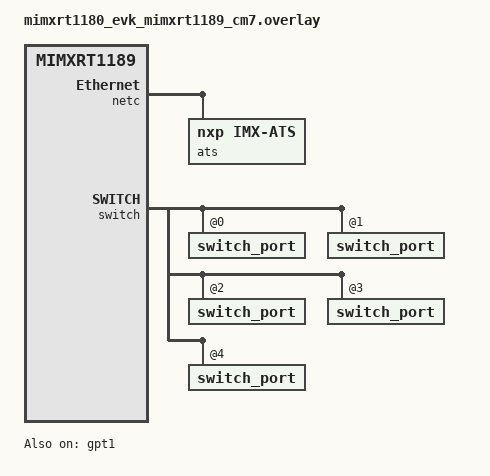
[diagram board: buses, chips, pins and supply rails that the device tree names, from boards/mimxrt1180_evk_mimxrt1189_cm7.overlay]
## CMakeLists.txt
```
# SPDX-License-Identifier: Apache-2.0

cmake_minimum_required(VERSION 3.20.0)
find_package(Zephyr REQUIRED HINTS $ENV{ZEPHYR_BASE})
project(rt1180-ats)

target_sources(app PRIVATE src/main.c)

if (CONFIG_ATS_SOFTWARE_DRIVER OR CONFIG_NETC_SPEEDTEST_ENABLED)
    target_sources(app PRIVATE src/ats_time.c)
    target_sources(app PRIVATE src/ptp_clock.c)
endif()

if(CONFIG_ATS_SOFTWARE_DRIVER)
    target_sources(app PRIVATE src/sender.c)
    target_sources(app PRIVATE src/ats.c)
    target_sources(app PRIVATE src/ats_iface.c)
    if(CONFIG_ATS_VERIFY_ENABLED)
        target_sources(app PRIVATE src/ats_verify.c)
    endif()

    zephyr_linker_sources(DATA_SECTIONS src/ats.ld)
    zephyr_iterable_section(NAME ats GROUP DATA_REGION ${XIP_ALIGN_WITH_INPUT})
endif()

if(CONFIG_NETC_SPEEDTEST_ENABLED)
    target_sources(app PRIVATE src/speedtest.c)
endif()
```

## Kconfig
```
mainmenu "Asynchronous Traffic Shaping IEEE 802.1Qcr"

menuconfig ATS_SOFTWARE_DRIVER
	bool "Enable ats software implementation"
	default y
	help
	  Enables all ATS specific code and further configuration

if ATS_SOFTWARE_DRIVER

config ATS_NUM_INTERFACES
	int "Number of interfaces/traffic classes with ATS support"
	default 0
	range 0 255
	help
	  Default: 0 = as many as are defined in the device tree. 
	  The maximum number of interface + traffic/pcp class cominations for which ATS support can be enabled.
	  The ATS on the same interface but different traffic class is treated like an independant interface!

config ATS_SCHEDULER_INSTANCES
	int "Number of ATS instances (maximum number of apps/streams)"
    default 6
	range 1 255
	help
	  The maximum number of ATS instances to allocate space for per iface/traffic class.
	  Defines the maximum number of apps thet can be used

config ATS_GROUP_INSTANCES
	int "Number of ATS groups"
    default 6
	range 1 255
	help
	  The maximum number of ATS groups to allocate space for per iface/traffic class.
	  Every scheduler used must be assigned to a group (multiple can be assigned to same group)

config ATS_QUEUE_LENGTH
    int "Size of queue for every ATS group"
    default 5
	range 1 255
	help
	  The size of the queue/ring buffer for every ATS scheduler group.
	  If the queue is full and more packets arrive for the 

config ATS_LOG_LEVEL
	int "Log level to use in ATS code (none: 0 to debug: 4)"
	default 4

config ATS_ASSERT_ON_SEND
	bool "Perform assertion checks on ATS send"
	default n
	help
	  Defines wether the ATS send path should perform assertions to check validity of parameters etc.
	  This causes some performace hit, it is useful for debugging but should be disabled in production

config ATS_TIMER_EPSILON_NS
	int "Number of nanoseconds of allowable jitter for timer updating"
	default 4000
	help
	  The number of nanoseconds to use as tolerance when setting a new timer expiry.
	  In the case a new packet with elegibility time within this epsilon arrives, it will ony be sent up to this amount of time later.
	  Required to avoid race condition when setting timer.
	  MUST be bigger than the time required for thread-lock, isr-lock, timer alarm update and both unlocks

config ATS_IFACE_INIT_PRIO
	int "Init priority for ats ifeces (between ETH_INIT_PRIORITY and NET_INIT_PRIO)"
	depends on NET_INIT_PRIO > ETH_INIT_PRIORITY
	default 61
	range ETH_INIT_PRIORITY NET_INIT_PRIO
	help
	  The initialization priority for ats interfaces. MUST be BIGGER than ETH_INIT_PRIORITY and SMALLER than NET_INIT_PRIO.
	  If set incorrectly, the initialization of the ats interface will fail (as ethernet and interface init are called in wrong order or parent devices aren't ready yet)

config ATS_VERIFY_ENABLED
	bool "Enable ats correctness verification"
	default n
	help
	  Enable this to check and log correctness of ATS packet sending.
	  This will start another (low prio) thread that does the verification by tracking the bucket states separately

config ATS_VERIFY_NO_PROCESSING
	bool "Disable processing threads of ats verify, only collect timestamps"
	default n
	help
	  To prevent the processing threads of ats verify to be spawned, set this to y, then only the timestamps will be collected.
	  Can be dumped using debugger

config ATS_VERIFY_LOG_LEVEL
	int "Log level for ATS verification"
	default 3
	help
	  The verbosity of the ATS verification.
	  0: none, 1: only errors in verifyer code, 2: warn if ATS did not comply to specification, 3: regular info of bucket states, 4: debug info from verifyer

endif

config NETC_SPEEDTEST_ENABLED
	bool "Build the nxp netx speedtest functionality"
	default n
	help
	  Provides the function speedtest_start to evaluate the send speed of a netc interface

if NETC_SPEEDTEST_ENABLED

config ATS_SPEEDTEST_MAX_INSTANCES
	int "Number of instances of speedtest_start that can be run in parallel"
	default 2

config ATS_SPEEDTEST_BUF_SIZE
	int "Timestamp buffer size in bytes"
	default 10240
	help
	  How many bytes to allocate for storing timestamps of the speedtest.
	  Maximum numer of timestamps per instance = floor(ATS_SPEEDTEST_BUF_SIZE / 8 / ATS_SPEEDTEST_MAX_INSTANCES)

endif

source "Kconfig.zephyr"
```

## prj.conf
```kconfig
# ATS settings
CONFIG_ATS_ASSERT_ON_SEND=y

CONFIG_GPIO=y

CONFIG_ETH_NXP_IMX_NETC=y
CONFIG_NET_L2_ETHERNET=y
CONFIG_NET_DSA=y
#CONFIG_DSA_TAG_PROTOCOL_NETC=y # not required to set manually as auto selected for netc board if CONFIG_NET_DSA=y
CONFIG_COUNTER=y
#CONFIG_COUNTER_MCUX_GPT=y # not required to set manually as auto selected for mcux board if CONFIG_COUNTER=y
#CONFIG_ETH_NXP_IMX_TX_RING_NUM=7
CONFIG_PTP_CLOCK=y
# required as dependency for CONFIG_PTP_CLOCK due to error in dsa_nxp_imx_netc.c L.562 (should not only be dependant on CONFIG_PTP_CLOCK but also CONFIG_NET_L2_PTP)
CONFIG_NET_L2_PTP=y

CONFIG_NET_L2_ETHERNET_RESERVE_HEADER=y # Required to reserve space for mac header in packets so they are contiguous
CONFIG_ETH_NXP_IMX_TX_RING_BUF_SIZE=1500

### Begin tracing
# CONFIG_TRACING=y
# CONFIG_PERCEPIO_TRACERECORDER=y
# CONFIG_PERCEPIO_TRC_CFG_STREAM_PORT_RINGBUFFER=y
# CONFIG_PERCEPIO_TRC_CFG_STREAM_PORT_RINGBUFFER_SIZE=10240
# CONFIG_PERCEPIO_TRC_CFG_CTRL_TASK_DELAY=1000

# CONFIG_TRACING_CTF=y
# CONFIG_TRACING_BACKEND_RAM=y
# CONFIG_RAM_TRACING_BUFFER_SIZE=10240

CONFIG_TRACING_PM=n
### End tracing


CONFIG_ATS_VERIFY_ENABLED=n
CONFIG_ATS_VERIFY_LOG_LEVEL=4

#CONFIG_DT_HAS_ETHERNET_PHY_ENABLED=y

# Generic networking options
CONFIG_NETWORKING=y
CONFIG_NET_UDP=n
CONFIG_NET_TCP=n
CONFIG_NET_IPV6=n
CONFIG_NET_IPV4=n
CONFIG_NET_SOCKETS=y
CONFIG_NET_SOCKETS_PACKET=y
CONFIG_POSIX_API=n
CONFIG_NET_CONTEXT_RCVTIMEO=n
CONFIG_NET_MGMT=y
CONFIG_NET_MGMT_EVENT=y

# Kernel options
CONFIG_MAIN_STACK_SIZE=2048
CONFIG_ENTROPY_GENERATOR=y
CONFIG_TEST_RANDOM_GENERATOR=y
CONFIG_INIT_STACKS=y

# Network buffers
CONFIG_NET_PKT_RX_COUNT=16
CONFIG_NET_PKT_TX_COUNT=16
CONFIG_NET_BUF_RX_COUNT=64
CONFIG_NET_BUF_TX_COUNT=64
CONFIG_NET_CONTEXT_NET_PKT_POOL=y

# Network shell
CONFIG_NET_SHELL=n

# Assertions
CONFIG_ASSERT=y

# Logging
CONFIG_LOG=y
CONFIG_NET_LOG=y
CONFIG_NET_STATISTICS=y
CONFIG_PRINTK=y
CONFIG_LOG_BACKEND_NATIVE_POSIX=y
CONFIG_LOG_DEFAULT_LEVEL=3
CONFIG_ATS_LOG_LEVEL=4

CONFIG_NET_SOCKETS_LOG_LEVEL_DBG=n
CONFIG_NET_CONTEXT_LOG_LEVEL_DBG=n
CONFIG_NET_CORE_LOG_LEVEL_DBG=n
CONFIG_NET_CONN_LOG_LEVEL_DBG=n
CONFIG_NET_IF_LOG_LEVEL_DBG=n
CONFIG_NET_L2_ETHERNET_LOG_LEVEL_DBG=n
CONFIG_ETHERNET_LOG_LEVEL_DBG=y
CONFIG_NET_PKT_LOG_LEVEL_ERR=n
```

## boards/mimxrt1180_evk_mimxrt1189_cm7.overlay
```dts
/* SPDX-License-Identifier: Apache-2.0 */

/ {
	aliases {
		lan = &switch_port3;
		eth0 = &switch_port0;
		eth1 = &switch_port1;
		eth2 = &switch_port2;
		eth3 = &switch_port3;
		eth4 = &enetc_psi0;
		ethpseudo = &enetc_psi1;
		ats-time = &netc_ptp_clock0;
		//ats-time = &gpt1;

		ats = &ats_0;
	};

	soc {
		peripheral: peripheral@40000000 {
			netc: ethernet {
				enetc_psi0: ethernet@60b00000 {
					status = "okay";
				};

				ats {
					compatible = "nxp,imx-ats";

					#address-cells = <1>;
					#size-cells = <0>;

					ats_0: ats@0 {
						status = "okay";
						parent = <&switch_port3>;
						reg = <0>;
					};
					ats_1: ats@1 {
						status = "okay";
						parent = <&enetc_psi0>;
						reg = <1>;
					};
				};
			};
		};
	};
};

&switch {
	status = "okay";
	switch_port@0 {
		status = "okay";
	};
	switch_port@1 {
		status = "okay";
	};
	switch_port@2 {
		status = "okay";
	};
	switch_port@3 {
		status = "okay";
	};
	switch_port@4 {
		status = "okay";
	};
};

&gpt1 {
	status = "okay";
	gptfreq = <DT_FREQ_M(240)>;
	run-mode = "free-run";
};

&netc_ptp_clock0 {
	status = "okay";
};
```

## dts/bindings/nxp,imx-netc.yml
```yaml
description: NXP i.MX NETC ATS software driver

compatible: "nxp,imx-ats"

include: 
    - name: base.yaml
      property-allowlist:
        - compatible


child-binding:
  description: One instance of the ats implementation (one per iface/priority combination)
  include: 
    - name: base.yaml
      property-blocklist:
        - compatible

  properties:
    parent:
      type: phandle
      description: Hardware interface to actually send via
      required: true
    priority:
      type: int
      description: The (pcp) priority for which to initialize ATS schedulers. All priorities on an interface behave like independant interfaces.
      default: 0
      enum:
        - 0
        - 1
        - 2
        - 3
        - 4
        - 5
        - 6
        - 7
```

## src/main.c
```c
/*
 * Copyright (c) 2019 Intel Corporation.
 *
 * SPDX-License-Identifier: Apache-2.0
 */

#include <zephyr/logging/log.h>
LOG_MODULE_REGISTER(net_pkt_sock_sample, LOG_LEVEL_DBG);

#include <zephyr/kernel.h>
#include <errno.h>
#include <stdio.h>

#include <zephyr/misc/lorem_ipsum.h>
#include <zephyr/net/socket.h>
#include <zephyr/net/ethernet.h>
#include <zephyr/net/net_mgmt.h>
#include <zephyr/net/dsa_core.h>

#include <zephyr/posix/sys/socket.h>
#include <zephyr/posix/unistd.h>

#include "ats.h"
#include "ats_iface.h"
#ifdef CONFIG_ATS_SOFTWARE_DRIVER
#include "sender.h"
#endif

#ifdef CONFIG_NETC_SPEEDTEST_ENABLED
#include "speedtest.h"
#endif

#if defined(CONFIG_NET_TC_THREAD_COOPERATIVE)
#define THREAD_PRIORITY K_PRIO_PREEMPT(0) // K_PRIO_COOP(CONFIG_NUM_COOP_PRIORITIES - 1)
#else
#define THREAD_PRIORITY K_PRIO_PREEMPT(8)
#endif

#define LAN_NODE DT_ALIAS(ats)

static struct k_sem quit_lock;

static bool finish;
static K_SEM_DEFINE(iface_up, 0, 1);
static const char *iface_dev_name = DT_NODE_FULL_NAME(LAN_NODE);
const struct device *if_dev_a; // = DEVICE_DT_GET(LAN_NODE);
struct net_if *iface;

static void find_actual_iface()
{
	if_dev_a = device_get_binding(iface_dev_name);

	iface = net_if_lookup_by_dev(if_dev_a);

	if (net_if_l2(iface) != &NET_L2_GET_NAME(ETHERNET))
	{
		LOG_ERR("Interface not an ethernet interface!");
		return;
	}
}

static void iface_up_handler(struct net_mgmt_event_callback *cb, uint64_t mgmt_event, struct net_if *changed_iface) //(uint64_t mgmt_event, struct net_if *changed_iface, void *info, size_t info_length, void *user_data)
{
	if (mgmt_event == NET_EVENT_IF_UP && changed_iface->if_dev->dev == iface->if_dev->dev)
	{
		k_sem_give(&iface_up);
	}
}

// NET_MGMT_REGISTER_EVENT_HANDLER(iface_up_cb, NET_EVENT_IF_UP, iface_up_handler, NULL);
static void wait_for_interface(void)
{
	if (net_if_is_up(iface))
	{
		return;
	}

	struct net_mgmt_event_callback iface_up_cb;
	net_mgmt_init_event_callback(&iface_up_cb, iface_up_handler,
								 NET_EVENT_IF_UP);
	net_mgmt_add_event_callback(&iface_up_cb);

	/* Wait for the interface to come up. */
	k_sem_take(&iface_up, K_FOREVER);

	net_mgmt_del_event_callback(&iface_up_cb);
}

int main(void)
{
	LOG_WRN("Hello world!");

	find_actual_iface();
	if (!ats_iface_is_ats(iface))
	{
		ats_init(iface);
	}

	k_sem_init(&quit_lock, 0, K_SEM_MAX_LIMIT);

	wait_for_interface();

	LOG_INF("Packet socket sample is running");

	// 2g:   250000000
	// 1g:   125000000
	// 999m: 124875000 = 100,7658%
	// 995m: 124375000 = 100,362%
	// 990m: 123750000 = 99,858%
	// 980m: 122500000 = 98,849%
	// 970m: 121250000 = 97,841%
	// 960m: 120000000 = 96,832%
	// 950m: 118750000 = 95,233%
	// 900m: 112500000 = 90,78%
	// 800m: 100000000 = 80,693%
	// 500m:  62500000
	// 400m:  50000000
	// 300m:  37500000
	// 200m:  25000000
	// 133.3m:16666667
	// 100m:  12500000
	// 1m:      125000
	sender_start(iface, 1500, 55, 25000000, true, THREAD_PRIORITY);
	sender_start(iface, 1500, 0, 25000000, false, THREAD_PRIORITY + 5);
	//   sender_start(iface, 1500, 1, 2000000, true, THREAD_PRIORITY + 1);
	//    sender_start(iface, 1500, 1, 2000000, true, THREAD_PRIORITY + 1);
	//    sender_start(iface, 1500, 1, 2000000, true, THREAD_PRIORITY + 1);
	//      sender_start(iface, 1500, 0, 16666667, true, THREAD_PRIORITY);
	//      sender_start(iface, 1500, 0, 16666667, true, THREAD_PRIORITY);

	// speedtest_start(ats_iface_is_ats(iface) ? ats_iface_get_data(iface)->iface : iface, CONFIG_NUM_PREEMPT_PRIORITIES - 1, true);
	/*speedtest_start(ats_iface_is_ats(iface) ? ats_iface_get_data(iface)->iface : iface, CONFIG_NUM_PREEMPT_PRIORITIES - 1, true);
	speedtest_start(ats_iface_is_ats(iface) ? ats_iface_get_data(iface)->iface : iface, CONFIG_NUM_PREEMPT_PRIORITIES - 1, true);
	speedtest_start(ats_iface_is_ats(iface) ? ats_iface_get_data(iface)->iface : iface, CONFIG_NUM_PREEMPT_PRIORITIES - 1, true);*/

	k_sem_take(&quit_lock, K_FOREVER);

	LOG_INF("Stopping...");

	return 0;
}
```

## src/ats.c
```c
#include <zephyr/kernel.h>
#include <zephyr/net/ethernet.h>
#include <zephyr/net/dsa_core.h>
#include <zephyr/logging/log.h>
#include <zephyr/sys/__assert.h>
#include "ats.h"
#include "constants.h"
#include "tracing_helper.h"
#ifdef CONFIG_ATS_VERIFY_ENABLED
#include "ats_verify.h"
#endif

#define ATS_QUEUE_ARR_LENGTH (CONFIG_ATS_QUEUE_LENGTH + 1)
#define LOG_IF_ERR(err, ...)  \
    if ((err) != 0)           \
    {                         \
        LOG_ERR(__VA_ARGS__); \
    }

#define RETURN_PROCESS_NOW 189 // magic return value for ats_update_counter_alarm to signal to caller to process packet now and no timer was set

LOG_MODULE_REGISTER(ats, CONFIG_ATS_LOG_LEVEL);

// Actual instances of ats struct in iterable struct section
STRUCT_SECTION_ITERABLE_ARRAY(ats, ats_instances, CONFIG_ATS_STRUCT_ITERABLE_SIZE);

void ats_counter_alarm_cb();

ats_trace_vars

struct ats *ats_init(struct net_if *iface)
{

    ats_trace_init();
    LOG_INF("Initializing ATS struct for iface %s", net_if_get_config(iface)->name);
    LOG_DBG("allocating %d schedulers, %d groups and %d queue slots/group", CONFIG_ATS_SCHEDULER_INSTANCES, CONFIG_ATS_GROUP_INSTANCES, CONFIG_ATS_QUEUE_LENGTH);

    struct ats *newInst = ats_get_by_net_if(iface);
    if (newInst != NULL)
    {
        LOG_DBG("a structure was already allocated for the iface");
        return newInst;
    }

    if (ats_time_init(ats_counter_alarm_cb))
    {
        LOG_ERR("counter/timer initialization failed!");
        return NULL;
    }

    STRUCT_SECTION_FOREACH(ats, instance)
    {
        if (instance->iface == NULL)
        {
            newInst = instance;
            break;
        }
    }
    __ASSERT(newInst != NULL, "no free ats instance found in ats_init");

    __ASSERT(net_if_l2(iface) == &NET_L2_GET_NAME(ETHERNET), "ATS only works on ethernet interfaces. Given interface wasn't ethernet");

#ifdef CONFIG_NET_DSA
    struct ethernet_context *eth_ctx = net_if_l2_data(iface);
    __ASSERT(eth_ctx->dsa_port != DSA_CONDUIT_PORT, "Given interface was a DSA conduit port. Cannot send via that, use a user/switch port");
    if (eth_ctx->dsa_port == DSA_USER_PORT)
    {
        const struct device *dev = net_if_get_device(iface);
        struct dsa_switch_context *dsa_switch_ctx = dev->data;
        newInst->ifaceDevice = net_if_get_device(dsa_switch_ctx->iface_conduit);
    }
    else
    {
        __ASSERT(eth_ctx->dsa_port == NON_DSA_PORT, "Given interface is of unknown type %d. Not a dsa switch port nor a non-dsa port", eth_ctx->dsa_port);
        newInst->ifaceDevice = net_if_get_device(iface);
    }
#else
    newInst->ifaceDevice = net_if_get_device(iface);
#endif

    newInst->iface = iface;
    k_mutex_init(&newInst->atsGlobalMutex);

    for (int i = 0; i < CONFIG_ATS_SCHEDULER_INSTANCES; i++)
    {
        newInst->scheduler[i].schedulerGroup = CONFIG_ATS_GROUP_INSTANCES;
    }

    for (int i = 0; i < CONFIG_ATS_GROUP_INSTANCES; i++)
    {
        newInst->group[i].parent = newInst;
        newInst->group[i].queueHeadElegibilityTime.valid = false;

        k_msgq_init(&(newInst->group[i].queue), newInst->group[i].queueBuffer, sizeof(struct ats_enqued_packet), CONFIG_ATS_QUEUE_LENGTH);
        k_mutex_init(&(newInst->group[i].elegibilityTimeMutex));
        LOG_DBG("For ATS %p: Group %d is %p", newInst, i, &(newInst->group[i]));
    }

    return newInst;
}

struct ats *ats_get_by_net_if(struct net_if *iface)
{
    STRUCT_SECTION_FOREACH(ats, instance)
    {
        if (instance->iface == iface)
        {
            return instance;
        }
    }
    return NULL;
}

uint8_t ats_get_group_id(struct ats *ats_data, uint8_t schedId)
{
    __ASSERT(schedId >= 0 && schedId < CONFIG_ATS_SCHEDULER_INSTANCES, "Invalid scheduler id %d to get the group id for", schedId);
    return ats_data->scheduler[schedId].schedulerGroup;
}

uint8_t ats_register_scheduler(struct ats *ats_data, int groupId, uint32_t informationRate, uint32_t burstSize)
{
    __ASSERT(ats_data != NULL, "no ats structure passed");
    __ASSERT(groupId < CONFIG_ATS_GROUP_INSTANCES, "invalid ATS group id %d, out of range of %d available groups", groupId, CONFIG_ATS_GROUP_INSTANCES);
    __ASSERT(informationRate > 0, "committed information rate (CIR, informationRate) must be greater than 0!");
    __ASSERT(burstSize > 0, "committed burst size (CBS, burstSize) must be greater than 0!");
    k_mutex_lock(&ats_data->atsGlobalMutex, K_FOREVER);

    int schedulerId = -1;
    for (int i = 0; i < CONFIG_ATS_SCHEDULER_INSTANCES; i++)
    {
        if (ats_data->scheduler[i].informationRate == 0)
        {
            schedulerId = i;
            break;
        }
    }
    __ASSERT(schedulerId >= 0, "no free ATS scheduler found for iface %s", net_if_get_config(ats_data->iface)->name);

    LOG_INF("Registered ATS stream %d for iface %s", schedulerId, net_if_get_config(ats_data->iface)->name);
    LOG_DBG("using groupId %d, %d tokens/sec, %d bytes burst size", groupId, informationRate, burstSize);
    if (groupId < 0)
    {
        groupId = -1;
        for (int i = 0; i < CONFIG_ATS_SCHEDULER_INSTANCES; i++)
        {
            if (ats_data->scheduler[i].schedulerGroup != CONFIG_ATS_GROUP_INSTANCES)
            {
                groupId = max(ats_data->scheduler[i].schedulerGroup, groupId);
            }
        }
        groupId++;
        __ASSERT(groupId >= 0 && groupId < CONFIG_ATS_GROUP_INSTANCES, "no free group without scheduler found to assign to instance %d", schedulerId);
    }

#ifdef CONFIG_ATS_VERIFY_ENABLED
    ats_verify_set_stream_parameters(&(ats_data->group[groupId]), ats_data, informationRate, burstSize);
#endif

    ats_data->scheduler[schedulerId].bucketEmptyTimeTicks = 0;
    ats_data->scheduler[schedulerId].informationRate = informationRate;
    ats_data->scheduler[schedulerId].burstSize = burstSize;
    ats_data->scheduler[schedulerId].schedulerGroup = groupId;
    ats_data->scheduler[schedulerId].emptyToFullTimeTicks = ((uint64_t)burstSize * (uint64_t)TICKS_PER_SECOND) / informationRate;

    k_mutex_unlock(&ats_data->atsGlobalMutex);
    return schedulerId;
}

int ats_send_iface(struct ats_group *group, struct net_pkt *pkt
#ifdef CONFIG_ATS_VERIFY_ENABLED
                   ,
                   uint64_t elegibilityTime, uint8_t sendFlags
#endif
)
{
    ats_trace_transmit(*(uint64_t *)(pkt->buffer->__buf + 16));
    LOG_DBG("Group %p sending packet with %d bytes", group, net_pkt_get_len(pkt));
    net_pkt_set_iface(pkt, group->parent->iface);
    net_pkt_cursor_init(pkt);
#ifdef CONFIG_ATS_VERIFY_ENABLED
    ats_verify_packet_sent(group, pkt, elegibilityTime, sendFlags);
#endif
    const struct ethernet_api *api = group->parent->ifaceDevice->api;
    int res = api->send(group->parent->ifaceDevice, pkt);
    net_pkt_unref(pkt);
    return res;
}

/**
 * @brief Sends all elegible packets at head of the groups queue.
 * @returns >= 0 number of packets left in queue (if > 0 queueHeadElegibilityTime will be next elegibility time)
 */
int ats_process_queue(struct ats_group *group, uint64_t now)
{
    int ret = 0;
    atomic_val_t oldLen = -1;
    now = TICK_NORMALIZE(now);
    while (group->queueHeadElegibilityTime.valid && TICK_LE(TICK_NORMALIZE(group->queueHeadElegibilityTime.tick), now))
    {
        LOG_DBG("Dequeue packet from group %p", group);
        struct ats_enqued_packet pkt;
        if (k_msgq_get(&(group->queue), &pkt, K_NO_WAIT) != 0)
        {
            // no packet in queue => nothing to do
            LOG_DBG("Queue of group %p was empty. Nothing to do", group);
            group->queueHeadElegibilityTime.valid = false;
            return 0;
        }

        ret = ats_send_iface(group, pkt.packet
#ifdef CONFIG_ATS_VERIFY_ENABLED
                             ,
                             pkt.elegibilityTime, (k_is_in_isr() ? ATS_VERIFY_SEND_FLAG_ISR : 0) | (oldLen == -1 ? 0 : ATS_VERIFY_SEND_FLAG_MORE)
#endif
        );
        LOG_IF_ERR(ret, "error while sending packets from queue of ATS group %p: %d", group, ret);

        oldLen = atomic_dec(&(group->queueLen));
        if (oldLen <= 1)
        {
            // queue empty => no need to calc elegibility time or stat timer
            LOG_DBG("group %p, new len: 0, queue now empty", group);
            group->queueHeadElegibilityTime.valid = false;
            return 0;
        }
        if (k_msgq_peek(&(group->queue), &pkt) != 0)
        {
            // no packet in queue => nothing to do
            LOG_DBG("group %p, new len: 0, queue now empty. This should not be reachable", group);
            group->queueHeadElegibilityTime.valid = false;
            return 0;
        }

        // packet in queue => need to send or restart timer
        group->queueHeadElegibilityTime.tick = pkt.elegibilityTime;
        group->queueHeadElegibilityTime.valid = true;
        LOG_DBG("group %p, new len %d, next elegibility time %" PRId64, group, (int)(oldLen - 1), group->queueHeadElegibilityTime.tick);
    }

    // queue not empty but next packet not elegible yet
    return oldLen != -1 ? oldLen - 1 : (group->queueHeadElegibilityTime.valid ? 1 : 0);
}

ats_time_t ats_calc_elegibility_time(struct ats *ats_data, uint8_t schedId, size_t pktSize, uint64_t arrivalTick, uint64_t *bucketEmptyTime)
{
    struct ats_scheduler *sched = &(ats_data->scheduler[schedId]);
    struct ats_group *group = &(ats_data->group[sched->schedulerGroup]);
    uint64_t pktRecoveryTimeTicks = ((uint64_t)pktSize) * TICKS_PER_SECOND / sched->informationRate;

    uint64_t schedulerElegebilityTimeTicks = sched->bucketEmptyTimeTicks + pktRecoveryTimeTicks;
    ats_time_t elegebilityTime = {
        .valid = false,
        .tick = MAX(arrivalTick, MAX(schedulerElegebilityTimeTicks, group->groupElegibilityTimeTicks)),
    };
    if (TICK_ILLEGAL_INTERVAL(arrivalTick, elegebilityTime.tick))
    {
        return elegebilityTime;
    }
    group->groupElegibilityTimeTicks = elegebilityTime.tick;

    uint64_t bucketFullTime = sched->bucketEmptyTimeTicks + sched->emptyToFullTimeTicks;
    if (elegebilityTime.tick < bucketFullTime)
    {
        // bucket wasn't full yet => remove pktSize tokens from bucket by moving bucketEmptyTime
        *bucketEmptyTime = schedulerElegebilityTimeTicks;
    }
    else
    {
        // bucket was full => subtrack pktSize tokens from bucket and set, bucketEmptyTime accurdingly
        *bucketEmptyTime = elegebilityTime.tick - sched->emptyToFullTimeTicks + pktRecoveryTimeTicks;
    }

    elegebilityTime.valid = true;
    return elegebilityTime;
}

int ats_update_counter_alarm_tmp(uint64_t nextElegibilityTime, bool timerExpired, uint64_t *outUsedNow)
{
    uint64_t counterVal;
    if (outUsedNow == NULL)
    {
        outUsedNow = &counterVal;
    }
    ats_time_get(outUsedNow);
    *outUsedNow = TICK_NORMALIZE(*outUsedNow);
    nextElegibilityTime = TICK_NORMALIZE(nextElegibilityTime);
    ats_time_t alarm_time;
    ats_time_get_alarm(&alarm_time);
    LOG_DBG("now: %" PRIu64 ", elegible: %" PRIu64 ", alarm valid: %d, alarm time: %" PRIu64, *outUsedNow, nextElegibilityTime, alarm_time.valid, alarm_time.tick);

    if (TICK_LE(nextElegibilityTime, *outUsedNow))
    {
        LOG_DBG("timer update: packet already elegible, not updating timer");
        return RETURN_PROCESS_NOW;
    }
    if (timerExpired || !alarm_time.valid)
    {
        // if elegibility time is before now + epsilon (closer than time needed to update OR already past)
        if (TICK_LE(nextElegibilityTime, *outUsedNow + CONFIG_ATS_TIMER_EPSILON_TICKS))
        {
            // counter alarm time is past and elegibility time is closer than epsilon => update to now+epsilon
            LOG_DBG("timer update: update to now+epsilon (%" PRId64 "); reason: timer expired and next elegibility time (%" PRId64 ") closer than epsilon; N'-E=%" PRId64,
                    TICK_NORMALIZE(*outUsedNow + CONFIG_ATS_TIMER_EPSILON_TICKS),
                    nextElegibilityTime,
                    TICK_REL_TIME(nextElegibilityTime, TICK_NORMALIZE(*outUsedNow + CONFIG_ATS_TIMER_EPSILON_TICKS)));
            return ats_time_set_alarm(*outUsedNow + CONFIG_ATS_TIMER_EPSILON_TICKS);
        }
        else
        {
            // counter alarm time is past and enough time to elegibility time to update => update to elegibility time
            LOG_DBG("timer update: update to next elegibility (%" PRId64 "); reason: timer expired and next elegibility not too close; E-N=%" PRId64,
                    nextElegibilityTime,
                    TICK_REL_TIME(*outUsedNow, nextElegibilityTime));
            return ats_time_set_alarm(nextElegibilityTime);
        }
    }
    else
    {
        // if timer does not expire within the time needed to update it (alarm_time outside epsilon from now)
        if (TICK_GT(alarm_time.tick, *outUsedNow + CONFIG_ATS_TIMER_EPSILON_TICKS))
        {
            // if elegibility time is before now + epsilon (closer than time needed to update OR already past)
            if (TICK_LE(nextElegibilityTime, *outUsedNow + CONFIG_ATS_TIMER_EPSILON_TICKS))
            {
                // elegibility time already past or too close to update AND counter alarm not within epsilon => update alarm time to now+epsilon
                LOG_DBG("timer update: update to now+epsilon (%" PRId64 "); reason: next elegibility time (%" PRId64 ") closer than epsilon; N'-E=%" PRId64,
                        TICK_NORMALIZE(*outUsedNow + CONFIG_ATS_TIMER_EPSILON_TICKS),
                        nextElegibilityTime,
                        TICK_REL_TIME(nextElegibilityTime, TICK_NORMALIZE(*outUsedNow + CONFIG_ATS_TIMER_EPSILON_TICKS)));
                return ats_time_set_alarm(*outUsedNow + CONFIG_ATS_TIMER_EPSILON_TICKS);
            }
            else
            {
                // if elegibility time is closer than current alarm time
                if (TICK_LE(nextElegibilityTime, alarm_time.tick))
                {
                    // => new elegibility time is closer than current alarm time but far enough to be able to update the alarm time => update alarm to elegibility time
                    LOG_DBG("timer update: update to next elegibility (%" PRId64 "); reason: next elegibility time closer than counter (%" PRId64 ") but not too close; C-E=%" PRId64,
                            nextElegibilityTime,
                            alarm_time.tick,
                            TICK_REL_TIME(nextElegibilityTime, alarm_time.tick));
                    return ats_time_set_alarm(nextElegibilityTime);
                }
                else
                {
                    // => new elegibility time is farther than next alarm time => no action required
                    LOG_DBG("timer update: no action; reason: timer not expired, next elegibility time (%" PRId64 ") greater than counter (%" PRId64 "); E-C=%" PRId64,
                            nextElegibilityTime,
                            alarm_time.tick,
                            TICK_REL_TIME(alarm_time.tick, nextElegibilityTime));
                    return 0;
                }
            }
        }
        else
        {
            // no action (except maybe if E < N; TODO)
            LOG_DBG("timer update: no action; reason: timer not expired but expiring within <epsilon from now; N'-C=%" PRId64 "",
                    TICK_REL_TIME(alarm_time.tick, *outUsedNow + CONFIG_ATS_TIMER_EPSILON_TICKS));
            return 0;
        }
    }
    return -1; // unreachable
}

int ats_update_counter_alarm(uint64_t nextElegibilityTime, bool timerExpired, uint64_t *outUsedNow)
{
    uint64_t timeAfter;
    // uint64_t timeBefore;
    // ats_time_get(&timeBefore);
    int res = ats_update_counter_alarm_tmp(nextElegibilityTime, timerExpired, outUsedNow);
    ats_trace_counter_update(nextElegibilityTime, (nextElegibilityTime - *outUsedNow), res);
    ats_time_get(&timeAfter);
    LOG_DBG("time needed for update: %" PRIu64, TICK_REL_TIME(*outUsedNow, timeAfter));
    return res;
}

void ats_counter_alarm_cb(uint64_t ticks)
{
    ats_trace_alarm_cb(ticks);
    LOG_DBG("counter alarm at %" PRId64, ticks);
    ats_time_t nextElegibilityTime = {.valid = false};
    do
    {
        nextElegibilityTime.valid = false;
        STRUCT_SECTION_FOREACH(ats, ats_data)
        {
            for (uint8_t i = 0; i < CONFIG_ATS_GROUP_INSTANCES; i++)
            {
                if (ats_process_queue(&(ats_data->group[i]), ticks) > 0)
                {
                    if (nextElegibilityTime.valid)
                    {
                        nextElegibilityTime.tick = TICK_MIN(nextElegibilityTime.tick, TICK_NORMALIZE(ats_data->group[i].queueHeadElegibilityTime.tick));
                    }
                    else
                    {
                        nextElegibilityTime.tick = TICK_NORMALIZE(ats_data->group[i].queueHeadElegibilityTime.tick);
                        nextElegibilityTime.valid = true;
                    }
                }
            }
        }
    } while (nextElegibilityTime.valid && ats_update_counter_alarm(nextElegibilityTime.tick, true, &ticks) == RETURN_PROCESS_NOW);
    if (!nextElegibilityTime.valid)
    {
        ats_time_cancel_alarm();
    }
}

int ats_send(struct ats *ats_data, uint8_t schedId, struct net_pkt *pkt)
{
    ats_trace_new_pkt(schedId, *(uint64_t *)(pkt->buffer->__buf + 16));
    uint64_t now;
    ats_time_get(&now);
    size_t pktSize = net_pkt_get_len(pkt);
#ifdef CONFIG_ATS_ASSERT_ON_SEND
    __ASSERT(net_pkt_lladdr_dst(pkt)->len > 0, "packet to be sent via ATS isn't ethernet processed yet! Use upper layers of network stack.");
    __ASSERT(schedId < CONFIG_ATS_SCHEDULER_INSTANCES, "invalid scheduler id %d out of range (%d)", schedId, CONFIG_ATS_SCHEDULER_INSTANCES);
    __ASSERT(ats_data->scheduler[schedId].informationRate > 0, "ATS instance %d not registered/initialized", schedId);
    __ASSERT(pktSize <= ats_data->scheduler[schedId].burstSize, "packet size %d exeeds burst size %d of ATS %d", pktSize, ats_data->scheduler[schedId].burstSize, schedId);
#endif

    uint8_t groupId = ats_data->scheduler[schedId].schedulerGroup;
    struct k_msgq *queue = &(ats_data->group[groupId].queue);
    uint64_t newBucketEmptyTime;

    // k_mutex_lock(&(ats_data->group[groupId].elegibilityTimeMutex), K_FOREVER);
    ats_time_t elegibilityTime = ats_calc_elegibility_time(ats_data, schedId, pktSize, now, &newBucketEmptyTime);
    if (!elegibilityTime.valid)
    {
        // k_mutex_unlock(&(ats_data->group[groupId].elegibilityTimeMutex));
        LOG_WRN("group %d packet elegibility time (%" PRId64 ") more than %" PRId64 " ticks after now (%" PRId64 ") => longer than absolut maximum residence. Dropping packet from scheduler %d", groupId, elegibilityTime.tick, TICK_MAX_INTERVAL, now, schedId);
        net_pkt_set_eof(pkt, true);
        return -1; // todo: proper error codes
    }
    struct ats_enqued_packet packet =
        {
            .packet = pkt,
            .elegibilityTime = TICK_NORMALIZE(elegibilityTime.tick),
    };

    if (k_msgq_put(queue, &packet, K_NO_WAIT) != 0)
    {
        // packet queue full, can't process packet (even if it were immediately elegible)
        // k_mutex_unlock(&(ats_data->group[groupId].elegibilityTimeMutex));
        LOG_INF("group %d packet queue is full (%d packets). Dropping packet from scheduler %d", groupId, CONFIG_ATS_QUEUE_LENGTH, schedId);
        net_pkt_set_eof(pkt, true);
        return -1; // todo: proper error codes
    }
    ats_data->scheduler[schedId].bucketEmptyTimeTicks = newBucketEmptyTime;
    ats_data->group[groupId].groupElegibilityTimeTicks = elegibilityTime.tick;
    // k_mutex_unlock(&(ats_data->group[groupId].elegibilityTimeMutex));

    net_pkt_ref(pkt);

    atomic_val_t oldLen = atomic_inc(&(ats_data->group[groupId].queueLen));
    net_pkt_set_eof(pkt, false);
#ifdef CONFIG_ATS_VERIFY_ENABLED
    ats_verify_packet_enqueued(&(ats_data->group[groupId]), pkt, now, oldLen | (queue->used_msgs << 4));
#endif
    if (oldLen > 0)
    {
        // queue was not empty => timer already running
        LOG_DBG("group %d, enqueued packet, new len: %d, timer running", groupId, (int)(oldLen + 1));
        return 0;
    }

    LOG_DBG("group %d, enqueued paket, new len: %d, next elegibility time %" PRId64 ", empty before", groupId, (int)(oldLen + 1), packet.elegibilityTime);

    ats_data->group[groupId].queueHeadElegibilityTime.tick = packet.elegibilityTime;
    ats_data->group[groupId].queueHeadElegibilityTime.valid = true;

    // packet isn't elegible yet and queue was empty => check if timer need updating
    unsigned int lockI = irq_lock();
    int updateRes = ats_update_counter_alarm(packet.elegibilityTime, false, &now);
    irq_unlock(lockI);
    if (updateRes == RETURN_PROCESS_NOW)
    {
        uint8_t numRemaining = ats_process_queue(&(ats_data->group[groupId]), now);
        if (numRemaining > 0)
        {
            lockI = irq_lock();
            updateRes = ats_update_counter_alarm(ats_data->group[groupId].queueHeadElegibilityTime.tick, false, &now);
            irq_unlock(lockI);
        }
    }
    // LOG_DBG("group %p, timer set for %" PRId64 " ns, no timer running before", groupId, timeUntilElegible);
    return 0;
}
```

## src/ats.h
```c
#ifndef RT1180_ATS_ATS_H__
#define RT1180_ATS_ATS_H__

#include <zephyr/sys/iterable_sections.h>
#include <zephyr/net/net_if.h>
#include <zephyr/net/net_pkt.h>
#include "ats_time.h"

#ifndef CONFIG_ATS_SOFTWARE_DRIVER
#define CONFIG_ATS_QUEUE_LENGTH 0
#define CONFIG_ATS_SCHEDULER_INSTANCES 0
#define CONFIG_ATS_GROUP_INSTANCES 0
#endif

/**
 * ATS scheduler instance (IEEE802.1Qcr 8.6.5.6 a-e)
 * One per stream/flow
 */
struct ats_scheduler
{
    /** State of the schedulers token bucket (via time bucket was last empty) */
    int64_t bucketEmptyTimeTicks;
    /**
     * CommittedInformationRate in Bytes per Second
     *
     * See IEEE802.1Qr 8.6.11.3.6
     */
    uint32_t informationRate;
    /**
     * CommittedBurstSize in Byes
     *
     * See IEEE802.1Qr 8.6.11.3.5
     */
    uint32_t burstSize;
    /**
     * @internal
     * Time for bucket to recover from empty to full in ats_time ticks.
     * Calculated on registering a stream to optimize eligibility time calculation
     * emptyToFullTimeTicks=burstSize/informationRate
     */
    int64_t emptyToFullTimeTicks;
    /**
     * Scheduler group this scheduler instance belongs to
     *
     * See IEEE802.1Qr 8.6.5.6 b)
     */
    uint8_t schedulerGroup;
};

/**
 * Packet and its eligibility time
 * Used for queueing within \ref struct ats_group
 */
struct ats_enqued_packet
{
    struct net_pkt *packet;
    /** Eligibility time in ats_time ticks */
    int64_t elegibilityTime;
};

/**
 * ATS group instance (IEEE802.1Qcr 8.6.5.6 f-h)
 */
struct ats_group
{
    /**
     * FIFO Queue for storing \ref struct ats_enqued_packet until their eligibility
     * Can hold up to CONFIG_ATS_QUEUE_LENGTH packets
     */
    struct k_msgq queue;
    /** @internal (byte) data buffer for packet queue */
    char queueBuffer[CONFIG_ATS_QUEUE_LENGTH * sizeof(struct ats_enqued_packet)];
    /** Current number of enqueued packets */
    atomic_t queueLen;
    /**
     * Latest eligibility time of all schedulers of this group.
     * Enforces FIFO ordering within the group
     *
     * See IEEE802.1Qcr 8.6.11.3.10
     */
    int64_t groupElegibilityTimeTicks;
    /** Eligibility time of current head of queue. (valid=false if queue empty) */
    ats_time_t queueHeadElegibilityTime;
    /** Mutex to make access to groupElegibilityTimeTicks thread safe */
    struct k_mutex elegibilityTimeMutex;
    /**
     * ATS instance this group belongs to
     * Set on initialization \ref struct ats; must not be changed
     */
    struct ats *parent;
};

/**
 * ATS instance
 * One per interface and priority level (actual priority value irrelevant for ATS not part of this struct; set in net_pkt!)
 */
struct ats
{
    /**
     * ATS scheduler instances for this ATS instance
     * Up to CONFIG_ATS_SCHEDULER_INSTANCES
     */
    struct ats_scheduler scheduler[CONFIG_ATS_SCHEDULER_INSTANCES];
    /**
     * ATS group instances for this ATS instance
     * Up to CONFIG_ATS_GROUP_INSTANCES
     */
    struct ats_group group[CONFIG_ATS_GROUP_INSTANCES];
    /** Parent ethernet \ref struct net_if to send packets via */
    struct net_if *iface;
    /** @internal Device used for packet transmission (for DSA interfaces the conduit port device) */
    const struct device *ifaceDevice;
    /** Mutex to make access to ats-instance-global variables thread safe */
    struct k_mutex atsGlobalMutex;
};

#ifdef CONFIG_ATS_SOFTWARE_DRIVER

/**
 * @brief Initialize new ATS scheduler structure for a given net_if
 *
 * Tries to initialize the first free ATS structure in memory with the given net_if as upstream.
 * Note: Initialization can't be undone.
 *
 * Errors if no free ATS structure remains
 * 
 * WARNING: Not tread safe! Only call from one thread (e.g. main thread)
 *
 * @param iface The upstream l2 ethernet interface to send scheduled packets via
 */
struct ats *ats_init(struct net_if *iface);

/**
 * @brief find the first ats structure for the given (parent/upstream) interface
 *
 * IMPORTANT: Does not include ats_iface instances.
 */
struct ats *ats_get_by_net_if(struct net_if *iface);

/**
 * @brief Returns the group id for the specified stream
 *
 * @return The id of the group in [0, CONFIG_ATS_GROUP_INSTANCES-1] when scheduler with given id is initialized,
 *          CONFIG_ATS_GROUP_INSTANCES when the scheduler with the gifen id isn't initialized yet.
 */
uint8_t ats_get_group_id(struct ats *ats_data, uint8_t schedId);

/**
 * @brief Allocate the first free ATS scheduler with the given parameters
 *
 * Errors if no free scheduler remains
 *
 * @param groupId the id of the group to attach the scheduler to. Negative to use the first empty group.
 */
uint8_t ats_register_scheduler(struct ats *ats_data, int groupId, uint32_t informationRate, uint32_t burstSize);

/**
 * @brief Send buffer using configured ATS scheduling
 */
int ats_send(struct ats *ats_data, uint8_t schedId, struct net_pkt *pkt);

#else // CONFIG_ATS_SOFTWARE_DRIVER

#define ats_init(...) ((struct ats *)NULL);
#define ats_get_by_net_if(...) ((struct ats *)NULL);
#define ats_get_group_id(...) 0
#define ats_register_scheduler(...) 0
#define ats_send(...) 0

#endif // CONFIG_ATS_SOFTWARE_DRIVER

#endif
```

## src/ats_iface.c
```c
#define DT_DRV_COMPAT nxp_imx_ats

#include "ats.h"

#include <zephyr/logging/log.h>
#include <zephyr/kernel.h>
#include <zephyr/device.h>
#include <zephyr/net/ethernet.h>
#include <zephyr/net/net_if.h>
#include <zephyr/net/net_pkt.h>
#ifdef CONFIG_NET_DSA
#include <zephyr/net/dsa_core.h>
#endif

LOG_MODULE_REGISTER(ats_iface, CONFIG_ATS_LOG_LEVEL);

struct ats_iface_config
{
    const char *parentDevName;
    const char *grandparentDevName;
    const uint8_t parentDsaPort;
    const uint8_t priority;
};

struct ats_iface_data
{
    struct ats *ats_data;
    struct net_if *atsIface;
};

int ats_iface_tx(const struct device *dev, struct net_pkt *pkt);

bool ats_iface_is_ats(struct net_if *ats_if)
{
    const struct device *dev = net_if_get_device(ats_if);
    const struct ethernet_api *api = dev->api;
    return api != NULL && api->send == ats_iface_tx;
}

struct ats *ats_iface_get_data(struct net_if *iface)
{
    const struct device *dev = net_if_get_device(iface);
    const struct ethernet_api *api = dev->api;
    if (api == NULL || api->send != ats_iface_tx)
    {
        return NULL;
    }
    struct ats_iface_data *data = dev->data;
    if (data == NULL || data->ats_data == NULL || data->ats_data->iface == NULL)
    {
        return NULL;
    }
    return data->ats_data;
}

uint8_t ats_iface_register_stream_to_group(struct net_if *ats_if, int groupId, uint32_t informationRate, uint32_t burstSize)
{
    struct ats *ats_data = ats_iface_get_data(ats_if);
#ifdef CONFIG_ATS_ASSERT_ON_SEND
    __ASSERT(ats_data != NULL, "The interface given to ats_iface_register_stream_to_group was not an ats_iface");
#endif
    return ats_register_scheduler(ats_data, groupId, informationRate, burstSize);
}

uint8_t ats_iface_register_stream(struct net_if *ats_if, uint32_t informationRate, uint32_t burstSize)
{
    return ats_iface_register_stream_to_group(ats_if, -1, informationRate, burstSize);
}

uint8_t ats_iface_stream_get_group(struct net_if *ats_if, uint8_t streamId)
{
    struct ats *ats_data = ats_iface_get_data(ats_if);
#ifdef CONFIG_ATS_ASSERT_ON_SEND
    __ASSERT(ats_data != NULL, "The interface given to ats_iface_stream_get_group was not an ats_iface");
#endif
    return ats_get_group_id(ats_data, streamId);
}

static struct net_mgmt_event_callback parent_iface_changed_cb;
static void ats_parent_iface_changed_handler(struct net_mgmt_event_callback *cb, uint64_t mgmt_event, struct net_if *changed_iface)
{
    const struct device *changed_dev = net_if_get_device(changed_iface);
    const struct ethernet_api *changed_api = changed_dev->api;
    if (changed_api != NULL && changed_api->send == ats_iface_tx)
    {
        return;
    }

    STRUCT_SECTION_FOREACH(net_if, iface)
    {
        const struct device *dev = net_if_get_device(iface);
        const struct ethernet_api *api = dev->api;
        if (api == NULL || api->send != ats_iface_tx)
        {
            continue;
        }

        struct ats_iface_data *data = dev->data;
        if (data == NULL || data->ats_data == NULL || data->ats_data->iface != changed_iface)
        {
            continue;
        }

        if (mgmt_event == NET_EVENT_IF_UP)
        {
            LOG_DBG("Parent interface %s of %s came up. Updating ats iface state", net_if_get_device(changed_iface)->name, dev->name);
            net_eth_carrier_on(iface);
        }
        else if (mgmt_event == NET_EVENT_IF_DOWN)
        {
            LOG_DBG("Parent interface %s of %s went down. Updating ats iface state", net_if_get_device(changed_iface)->name, dev->name);
            net_eth_carrier_off(iface);
        }
    }
}

static void ats_iface_interface_init(struct net_if *iface)
{
    const struct device *dev = net_if_get_device(iface);
    struct ats_iface_data *data = dev->data;
    data->atsIface = iface;

    struct net_linkaddr *mac = net_if_get_link_addr(data->ats_data->iface);
    net_if_set_link_addr(iface, mac->addr, mac->len, mac->type);
    LOG_INF("ATS %s MAC: %02x:%02x:%02x:%02x:%02x:%02x", dev->name,
            mac->addr[0], mac->addr[1], mac->addr[2], mac->addr[3],
            mac->addr[4], mac->addr[5]);

    ethernet_init(iface);

    // can assume parent device ready, as it is requirement for it to be returned by device_get_binding
    if (net_if_is_up(data->ats_data->iface))
    {
        net_eth_carrier_on(iface);
    }
    else
    {
        net_if_carrier_off(iface);
    }
}

static int ats_iface_init(const struct device *dev)
{
    const struct ats_iface_config *conf = dev->config;
    LOG_DBG("ATS config for %s: Priority: %d, parent: %s, grandparent: %s, dsaPort: %d", dev->name, conf->priority, conf->parentDevName, conf->grandparentDevName, conf->parentDsaPort);
    const struct device *parentDev = device_get_binding(conf->parentDevName);
    if (parentDev == NULL)
    {
        parentDev = device_get_binding(conf->grandparentDevName);
        if (parentDev == NULL)
        {
            LOG_ERR("Could not find referenced parent interface %s (or it wasn't)", conf->parentDevName);
            return 1;
        }
    }
    struct net_if *parentIface = net_if_lookup_by_dev(parentDev);
    if (parentIface == NULL)
    {
        LOG_ERR("No interface found for referenced parent %s. Make sure it is a ethernet/dsa device", conf->parentDevName);
        return 2;
    }

    if (net_if_l2(parentIface) != &NET_L2_GET_NAME(ETHERNET))
    {
        char ifName[100];
        net_if_get_name(parentIface, ifName, 100);
        LOG_ERR("Parent interface %s of ats %s not an ethernet interface!", ifName, dev->name);
        return 3;
    }

#ifdef CONFIG_NET_DSA
    if ((net_eth_get_hw_capabilities(parentIface) & ETHERNET_DSA_CONDUIT_PORT))
    {
        struct net_if *user = dsa_user_get_iface(parentIface, conf->parentDsaPort);
        if (user == NULL)
        {
            char ifName[100];
            net_if_get_name(parentIface, ifName, 100);
            LOG_ERR("Port %d of DSA interface %s not found", conf->parentDsaPort, ifName);
            return 4;
        }
        parentIface = user;
    }
#endif

    char ifName[100];
    net_if_get_name(parentIface, ifName, 100);
    LOG_INF("Ats %s using iface %s as parent ethernet interface", dev->name, ifName);

    struct ats_iface_data *data = dev->data;
    data->ats_data = ats_init(parentIface);

    if (parent_iface_changed_cb.handler == NULL)
    {
        net_mgmt_init_event_callback(&parent_iface_changed_cb, ats_parent_iface_changed_handler,
                                     NET_EVENT_IF_UP | NET_EVENT_IF_DOWN);
        net_mgmt_add_event_callback(&parent_iface_changed_cb);
    }

    return 0;
}

int ats_iface_tx(const struct device *dev, struct net_pkt *pkt)
{
    struct ats_iface_data *data = dev->data;
    if (net_pkt_ats_is_scheduled(pkt))
    {
        return ats_send(data->ats_data, pkt->ats_stream, pkt);
    }
    else
    {
        const struct ethernet_api *api = data->ats_data->ifaceDevice->api;
        net_pkt_set_iface(pkt, data->ats_data->iface);
        return api->send(data->ats_data->ifaceDevice, pkt);
    }
}

enum ethernet_hw_caps ats_iface_get_capabilities(const struct device *dev)
{
    struct ats_iface_data *data = dev->data;
    return net_eth_get_hw_capabilities(data->ats_data->iface);
}

static const struct ethernet_api ats_eth_api = {.iface_api.init = ats_iface_interface_init,
                                                .send = ats_iface_tx,
                                                .get_capabilities = ats_iface_get_capabilities};

#define ATS_IFACE_INSTANCE_DEFINE(n)                                               \
    static const struct ats_iface_config ats_iface##n##_config = {                 \
        .parentDevName = DT_NODE_FULL_NAME(DT_PHANDLE(n, parent)),                 \
        .grandparentDevName = DT_NODE_FULL_NAME(DT_PARENT(DT_PHANDLE(n, parent))), \
        .parentDsaPort = DT_REG_ADDR(DT_PHANDLE(n, parent)),                       \
        .priority = DT_PROP(n, priority)};                                         \
    static struct ats_iface_data ats_iface##n##_data = {};                         \
    ETH_NET_DEVICE_DT_DEFINE(n, ats_iface_init, NULL, &ats_iface##n##_data,        \
                             &ats_iface##n##_config, CONFIG_ATS_IFACE_INIT_PRIO,   \
                             &ats_eth_api, NET_ETH_MTU);

#if CONFIG_ATS_IFACE_INIT_PRIO <= CONFIG_ETH_INIT_PRIORITY || CONFIG_ATS_IFACE_INIT_PRIO >= CONFIG_NET_INIT_PRIO
#error "CONFIG_ATS_IFACE_INIT_PRIO must be bigger than CONFIG_ETH_INIT_PRIORITY and smaller than CONFIG_NET_INIT_PRIO!"
#endif

#if DT_NUM_INST_STATUS_OKAY(DT_DRV_COMPAT) == 1
DT_INST_FOREACH_CHILD_STATUS_OKAY(0, ATS_IFACE_INSTANCE_DEFINE)
#elif DT_NUM_INST_STATUS_OKAY(DT_DRV_COMPAT) > 1
#error "ats_iface.c: Only one instance of the 'ats' parent element with compatible 'nxp,imx-ats' is allowed!"
#endif
```

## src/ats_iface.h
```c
#ifndef RT1180_ATS_ATS_IFACE_H__
#define RT1180_ATS_ATS_IFACE_H__

#ifdef CONFIG_ATS_SOFTWARE_DRIVER

#include <zephyr/kernel.h>

bool ats_iface_is_ats(struct net_if *ats_if);
struct ats *ats_iface_get_data(struct net_if *iface);

uint8_t ats_iface_register_stream_to_group(struct net_if *ats_if, int groupId, uint32_t informationRate, uint32_t burstSize);
uint8_t ats_iface_register_stream(struct net_if *ats_if, uint32_t informationRate, uint32_t burstSize);

uint8_t ats_iface_stream_get_group(struct net_if *ats_if, uint8_t streamId);

#else // CONFIG_ATS_SOFTWARE_DRIVER

#define ats_iface_is_ats(...) false
#define ats_iface_get_data(...) ((struct ats *)NULL)
#define ats_iface_register_stream_to_group(...) 0
#define ats_iface_register_stream(...) 0
#define ats_iface_stream_get_group(...) 0

#endif // CONFIG_ATS_SOFTWARE_DRIVER

#endif // RT1180_ATS_ATS_IFACE_H__
```

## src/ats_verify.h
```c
#ifndef RT1180_ATS_ATS_VERIFY_H__
#define RT1180_ATS_ATS_VERIFY_H__

#include <zephyr/kernel.h>
#include <zephyr/net/net_pkt.h>

#define ATS_VERIFY_SEND_FLAG_ISR 0b1
#define ATS_VERIFY_SEND_FLAG_MORE 0b10

void ats_verify_packet_enqueued(void *streamId, struct net_pkt *pkt, uint64_t arrivalTime, uint8_t enqIndex);

void ats_verify_packet_sent(void *streamId, struct net_pkt *pkt, uint64_t elegibilityTime, uint8_t sendFlags);

void ats_verify_set_stream_parameters(void *streamId, void *ats_data, uint32_t informationRate, uint32_t burstSize);

#endif
```
